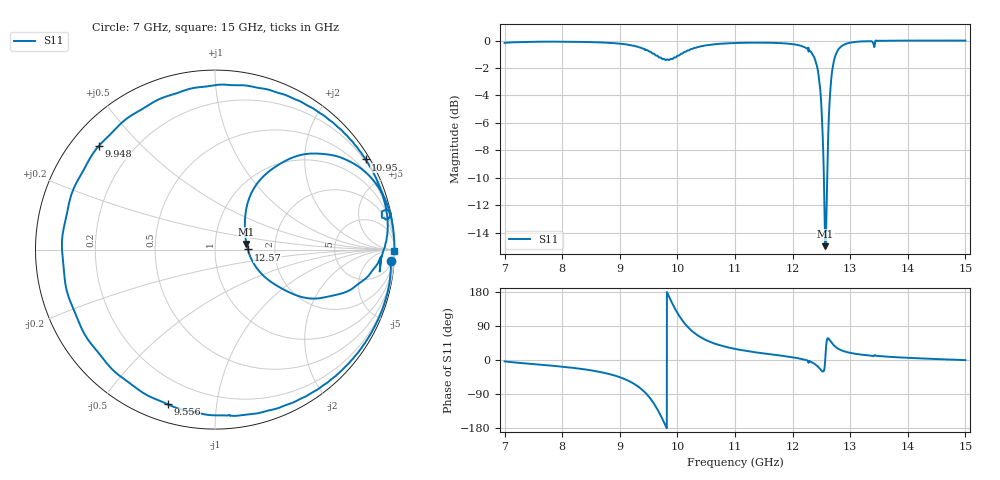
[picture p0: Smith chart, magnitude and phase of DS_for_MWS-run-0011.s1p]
! TOUCHSTONE file generated by CST DESIGN STUDIO
! Date and time: Mon Feb 10 16:49:11 2025
! Project name: C:\Work\MatlabApps\UnitCellType2OptimizationMatlab\CST\unitcell.cst
! Tree item: Tasks\Sweep1\SPara1\S-Parameters
! Header version: 2024
! Port assignment regex: !\s*Touchstone port\s*([0-9]+)\s*=\s*(CST MWS port|CST DES external port|CST DES block port)\s*(.+)\s* \(\"(.*)\"\)(\s*mode\s*([0-9]+))?.*
! Touchstone port assignment:
! Touchstone port 1 = CST DES external port 1 ("")
# GHz S MA R 50
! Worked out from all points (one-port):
!   4001 points, 7 GHz to 15 GHz, reference 50 ohm
!   lowest |S11| = -15.0 dB at 12.57 GHz (marker M1), VSWR 1.43, Z = 71 + j4.71 ohm
!   |S11| at or under -10 dB: 12.54322 GHz to 12.60011 GHz (56.88 MHz wide, 0.452 % of centre)
!   S11 on the Smith chart (normalised r, x): 7 GHz: 9, -29; 9.556 GHz: 0.08, -0.74; 9.948 GHz: 0.08, +0.38; 10.95 GHz: 0.16, +3.61; 12.57 GHz: 1.45, +0.00; 15 GHz: open
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7  0.9806 -3.7
8  0.99 -17.7
8.62  0.985 -30.5
9  0.9737 -45.4
9.31  0.9495 -69.2
9.556  0.9011 -107.0
9.666  0.8739 -133.9
9.778  0.8544 -167.9
9.858  0.8492 166.2
9.948  0.8675 138.4
10  0.88 124.2
10.15  0.9116 92.1
10.388  0.9497 61.6
10.62  0.9672 44.8
10.946  0.9779 30.9
11  0.9791 29.2
12  0.9694 7.2
12.382  0.8618 -10.2
12.498  0.5852 -27.6
12.566  0.1825 0.3
12.57  0.178 10.4
12.594  0.2736 51.1
12.63  0.5301 55.3
12.68  0.7555 45.1
12.796  0.9284 29.4
13  0.9821 18.8
14  0.9987 5.8
15  0.9995 -0.3
